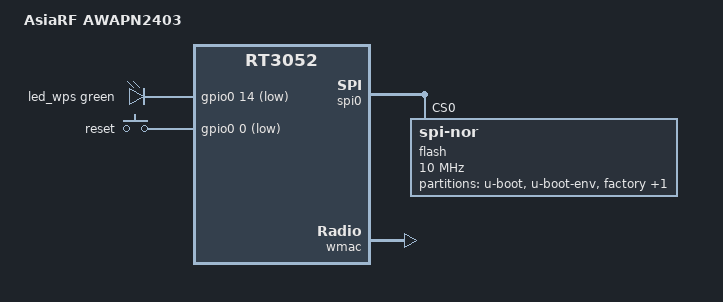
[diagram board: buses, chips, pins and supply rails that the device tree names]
#include "rt3050.dtsi"

#include <dt-bindings/gpio/gpio.h>
#include <dt-bindings/input/input.h>
#include <dt-bindings/leds/common.h>

/ {
	compatible = "asiarf,awapn2403", "ralink,rt3052-soc";
	model = "AsiaRF AWAPN2403";

	aliases {
		led-boot = &led_wps;
		led-failsafe = &led_wps;
		led-running = &led_wps;
		led-upgrade = &led_wps;
	};

	leds {
		compatible = "gpio-leds";

		led_wps: wps {
			function = LED_FUNCTION_WPS;
			color = <LED_COLOR_ID_GREEN>;
			gpios = <&gpio0 14 GPIO_ACTIVE_LOW>;
		};
	};

	keys {
		compatible = "gpio-keys-polled";
		poll-interval = <20>;

		reset {
			label = "reset";
			gpios = <&gpio0 0 GPIO_ACTIVE_LOW>;
			linux,code = <KEY_RESTART>;
		};
	};
};

&spi0 {
	status = "okay";

	flash@0 {
		compatible = "jedec,spi-nor";
		reg = <0>;
		spi-max-frequency = <10000000>;

		partitions {
			compatible = "fixed-partitions";
			#address-cells = <1>;
			#size-cells = <1>;

			partition@0 {
				label = "u-boot";
				reg = <0x0 0x30000>;
				read-only;
			};

			partition@30000 {
				label = "u-boot-env";
				reg = <0x30000 0x10000>;
				read-only;
			};

			partition@40000 {
				label = "factory";
				reg = <0x40000 0x10000>;
				read-only;

				nvmem-layout {
					compatible = "fixed-layout";
					#address-cells = <1>;
					#size-cells = <1>;

					eeprom_factory_0: eeprom@0 {
						reg = <0x0 0x200>;
					};
				};
			};

			partition@50000 {
				compatible = "denx,uimage";
				label = "firmware";
				reg = <0x50000 0x3b0000>;
			};
		};
	};
};

&state_default {
	gpio {
		groups = "i2c", "jtag", "rgmii", "mdio", "uartf";
		function = "gpio";
	};
};

&esw {
	mediatek,portmap = <0x3e>;
};

&wmac {
	nvmem-cells = <&eeprom_factory_0>;
	nvmem-cell-names = "eeprom";
};
